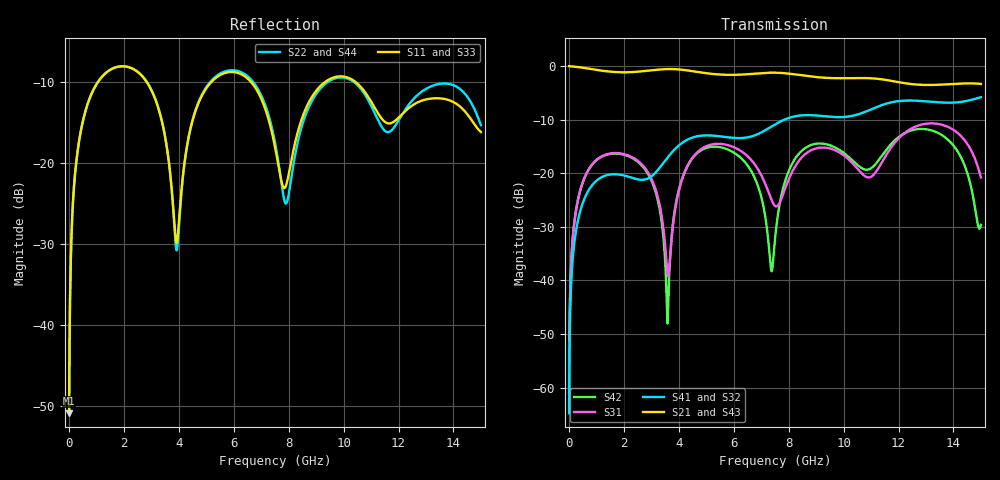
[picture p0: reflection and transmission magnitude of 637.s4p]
! Created with skrf 1.8.0 (http://scikit-rf.org).
# GHz S RI R 50.0
!freq ReS11 ImS11 ReS12 ImS12 ReS13 ImS13
! ReS14 ImS14
! ReS21 ImS21 ReS22 ImS22 ReS23 ImS23
! ReS24 ImS24
! ReS31 ImS31 ReS32 ImS32 ReS33 ImS33
! ReS34 ImS34
! ReS41 ImS41 ReS42 ImS42 ReS43 ImS43
! ReS44 ImS44
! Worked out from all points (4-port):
!   2499 points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, 5 MHz to 15 GHz, reference 50 ohm
!   strongest paths, dB at 5 MHz, 3.476 GHz, 7.19 GHz, 11.1 GHz, 15 GHz:
!     S21: 0.0, -0.6, -1.3, -2.3, -3.3
!     S43: 0.0, -0.6, -1.3, -2.3, -3.3
!     S41: -64.8, -17.8, -11.8, -7.9, -5.8
!     S32: -64.8, -17.8, -11.9, -7.9, -5.8
!     S31: -60.9, -32.1, -22.5, -20.3, -20.8
!     S42: -60.9, -34.3, -29.6, -18.7, -29.6
!   lowest |S11| = -50.9 dB at 5 MHz (marker M1), VSWR 1.01, Z = 50.2 + j0.174 ohm
!   |S11| at or under -10 dB: 2.823 GHz to 5.195 GHz (2.372 GHz wide, 59.2 % of centre); 6.618 GHz to 9.342 GHz (2.724 GHz wide, 34.1 % of centre); 10.42 GHz to end of sweep (the widest 3 of 4)
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0.005  0.00228 0.00173  0.9977 -0.00444  0.000117 0.000895  -0.000113 -0.000564
       0.9977 -0.00444  0.00228 0.00173  -0.000113 -0.000564  0.000117 0.000895
       0.000117 0.000895  -0.000113 -0.000564  0.00228 0.00173  0.9977 -0.00444
       -0.000113 -0.000564  0.000117 0.000895  0.9977 -0.00444  0.00228 0.00173
0.2626094  0.0323 0.0946  0.9561 -0.2309  0.0148 0.0437  -0.0122 -0.027
           0.9561 -0.2309  0.0323 0.0946  -0.0122 -0.027  0.0145 0.0438
           0.0148 0.0437  -0.0122 -0.027  0.0323 0.0946  0.9561 -0.2309
           -0.0122 -0.027  0.0145 0.0438  0.9561 -0.2309  0.0323 0.0946
1.219258  0.2991 0.1646  0.4837 -0.763  0.1367 0.0487  -0.0926 0.0044
          0.4837 -0.763  0.3001 0.1637  -0.0926 0.00436  0.1338 0.0532
          0.1367 0.0487  -0.0926 0.00436  0.2991 0.1645  0.4838 -0.763
          -0.0926 0.0044  0.1338 0.0532  0.4838 -0.763  0.3001 0.1637
3.89  0.0319 -0.0103  -0.9304 -0.0859  0.000876 0.0497  -0.0112 0.1706
      -0.9304 -0.0859  0.0286 -0.0114  -0.0115 0.1705  0.00401 0.0518
      0.000876 0.0497  -0.0115 0.1705  0.0326 -0.00943  -0.9305 -0.0858
      -0.0112 0.1706  0.00401 0.0518  -0.9305 -0.0858  0.0277 -0.0106
7.790746  0.0701 -0.0144  0.8408 0.1823  -0.0306 0.055  0.0596 -0.3061
          0.8408 0.1823  0.0567 -0.0324  0.0612 -0.3058  0.00764 0.071
          -0.0306 0.055  0.0612 -0.3058  0.0697 -0.0165  0.8404 0.184
          0.0596 -0.3061  0.00764 0.071  0.8404 0.184  0.0579 -0.0342
11.77366  0.1767 -0.00971  -0.7028 -0.1795  -0.0274 0.1777  -0.1108 0.4473
          -0.7028 -0.1795  0.16 0.0109  -0.1134 0.4469  -0.0664 0.1801
          -0.0274 0.1777  -0.1134 0.4469  0.1762 -0.0142  -0.7017 -0.1841
          -0.1108 0.4473  -0.0664 0.1801  -0.7017 -0.1841  0.1625 0.00603
15  0.1533 -0.0214  0.3976 0.5528  -0.0147 -0.0899  0.4043 -0.3143
    0.3976 0.5528  0.1431 -0.093  0.4063 -0.3107  -0.0325 -0.006
    -0.0147 -0.0899  0.4063 -0.3107  0.1446 -0.0148  0.3956 0.5567
    0.4043 -0.3143  -0.0325 -0.006  0.3956 0.5567  0.1342 -0.0864
